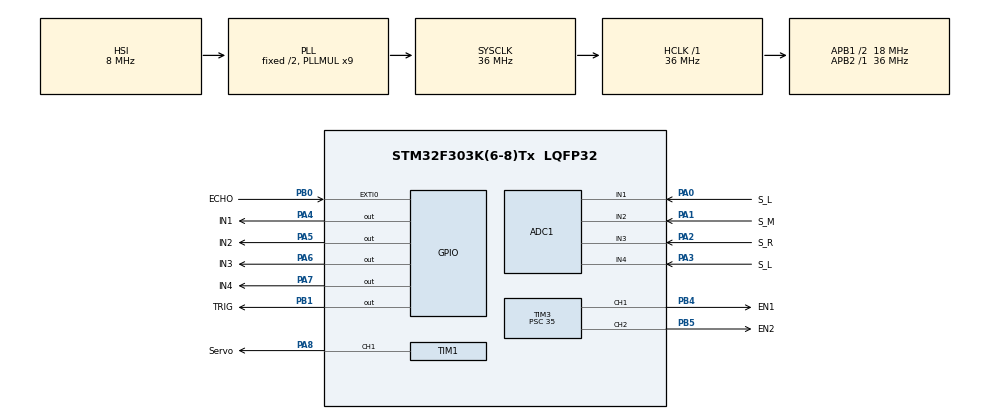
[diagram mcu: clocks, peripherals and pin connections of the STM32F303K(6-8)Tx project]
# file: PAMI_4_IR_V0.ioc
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ADC1.Channel-0\#ChannelRegularConversion=ADC_CHANNEL_1
ADC1.Channel-1\#ChannelRegularConversion=ADC_CHANNEL_2
ADC1.Channel-2\#ChannelRegularConversion=ADC_CHANNEL_3
ADC1.Channel-3\#ChannelRegularConversion=ADC_CHANNEL_4
ADC1.NbrOfConversion=4
ADC1.NbrOfConversionFlag=1
ADC1.Offset-0\#ChannelRegularConversion=0
ADC1.Offset-1\#ChannelRegularConversion=0
ADC1.Offset-2\#ChannelRegularConversion=0
ADC1.Offset-3\#ChannelRegularConversion=0
ADC1.OffsetNumber-0\#ChannelRegularConversion=ADC_OFFSET_NONE
ADC1.OffsetNumber-1\#ChannelRegularConversion=ADC_OFFSET_NONE
ADC1.OffsetNumber-2\#ChannelRegularConversion=ADC_OFFSET_NONE
ADC1.OffsetNumber-3\#ChannelRegularConversion=ADC_OFFSET_NONE
ADC1.Rank-0\#ChannelRegularConversion=1
ADC1.Rank-1\#ChannelRegularConversion=2
ADC1.Rank-2\#ChannelRegularConversion=3
ADC1.Rank-3\#ChannelRegularConversion=4
ADC1.SamplingTime-0\#ChannelRegularConversion=ADC_SAMPLETIME_181CYCLES_5
ADC1.SamplingTime-1\#ChannelRegularConversion=ADC_SAMPLETIME_181CYCLES_5
ADC1.SamplingTime-2\#ChannelRegularConversion=ADC_SAMPLETIME_181CYCLES_5
ADC1.SamplingTime-3\#ChannelRegularConversion=ADC_SAMPLETIME_1CYCLE_5
ADC1.SamplingTimeOPAMP-3\#ChannelRegularConversion=ADC_SAMPLETIME_19CYCLES_5
ADC1.SubFamily=STM32F303x8
ADC1.master=1
Mcu.Family=STM32F3
Mcu.Name=STM32F303K(6-8)Tx
Mcu.Package=LQFP32
NVIC.ADC1_2_IRQn=true\:0\:0\:false\:false\:true\:true\:true\:true
NVIC.EXTI0_IRQn=true\:0\:0\:false\:false\:true\:true\:true\:true
NVIC.PriorityGroup=NVIC_PRIORITYGROUP_4
PA0.GPIO_Label=S_L
PA0.Mode=IN1-Single-Ended
PA0.Signal=ADC1_IN1
PA1.GPIO_Label=S_M
PA1.Mode=IN2-Single-Ended
PA1.Signal=ADC1_IN2
PA2.GPIO_Label=S_R
PA2.Mode=IN3-Single-Ended
PA2.Signal=ADC1_IN3
PA3.GPIO_Label=S_L
PA3.Mode=IN4-Single-Ended
PA3.Signal=ADC1_IN4
PA4.GPIO_Label=IN1
PA4.Signal=GPIO_Output
PA5.GPIO_Label=IN2
PA5.Signal=GPIO_Output
PA6.GPIO_Label=IN3
PA6.Signal=GPIO_Output
PA7.GPIO_Label=IN4
PA7.Signal=GPIO_Output
PA8.GPIO_Label=Servo
PA8.Signal=S_TIM1_CH1
PB0.GPIO_Label=ECHO
PB0.GPIO_ModeDefaultEXTI=GPIO_MODE_IT_RISING_FALLING
PB0.Signal=GPXTI0
PB1.GPIO_Label=TRIG
PB1.Signal=GPIO_Output
PB4.GPIO_Label=EN1
PB4.Signal=S_TIM3_CH1
PB5.GPIO_Label=EN2
PB5.Signal=S_TIM3_CH2
PF0\ /\ OSC_IN.Mode=HSE-External-Oscillator
PF0\ /\ OSC_IN.Signal=RCC_OSC_IN
PF1\ /\ OSC_OUT.Mode=HSE-External-Oscillator
PF1\ /\ OSC_OUT.Signal=RCC_OSC_OUT
ProjectManager.HeapSize=0x200
ProjectManager.StackSize=0x400
ProjectManager.TargetToolchain=STM32CubeIDE
RCC.AHBFreq_Value=36000000
RCC.APB1CLKDivider=RCC_HCLK_DIV2
RCC.APB1Freq_Value=18000000
RCC.APB1TimFreq_Value=36000000
RCC.APB2Freq_Value=36000000
RCC.APB2TimFreq_Value=36000000
RCC.CortexFreq_Value=36000000
RCC.HCLKFreq_Value=36000000
RCC.HSE_VALUE=8000000
RCC.HSI_VALUE=8000000
RCC.PLLMUL=RCC_PLL_MUL9
RCC.SYSCLKFreq_VALUE=36000000
RCC.SYSCLKSourceVirtual=RCC_SYSCLKSOURCE_PLLCLK
SH.S_TIM1_CH1.0=TIM1_CH1,PWM Generation1 CH1
SH.S_TIM3_CH1.0=TIM3_CH1,PWM Generation1 CH1
SH.S_TIM3_CH2.0=TIM3_CH2,PWM Generation2 CH2
TIM1.Channel-PWM\ Generation1\ CH1=TIM_CHANNEL_1
TIM1.Period=65534
TIM1.Prescaler=35
TIM3.AutoReloadPreload=TIM_AUTORELOAD_PRELOAD_ENABLE
TIM3.Channel-PWM\ Generation1\ CH1=TIM_CHANNEL_1
TIM3.Channel-PWM\ Generation2\ CH2=TIM_CHANNEL_2
TIM3.Period=199
TIM3.Prescaler=35
VP_TIM1_VS_ClockSourceINT.Mode=Internal
VP_TIM3_VS_ClockSourceINT.Mode=Internal
board=custom

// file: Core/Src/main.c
/* USER CODE BEGIN Header */
/**
  ******************************************************************************
  * @file           : main.c
  * @brief          : Main program body
  ******************************************************************************
  * @attention
  *
  * Copyright (c) 2024 STMicroelectronics.
  * All rights reserved.
  *
  * This software is licensed under terms that can be found in the LICENSE file
  * in the root directory of this software component.
  * If no LICENSE file comes with this software, it is provided AS-IS.
  *
  ******************************************************************************
  */
/* USER CODE END Header */
#include "main.h"

ADC_HandleTypeDef hadc1;

TIM_HandleTypeDef htim1;
TIM_HandleTypeDef htim3;

/* USER CODE BEGIN PV */
uint32_t pMillis;
uint32_t Value1 = 0;
uint32_t Value2 = 0;
uint16_t Distance = 0;
/* USER CODE END PV */

void SystemClock_Config(void);
static void MX_GPIO_Init(void);
static void MX_TIM1_Init(void);
static void MX_ADC1_Init(void);
static void MX_TIM3_Init(void);
/* USER CODE BEGIN PFP */

ADC_ChannelConfTypeDef sConfig;
void HAL_GPIO_EXTI_Callback(uint16_t GPIO_Pin)
{
  static int threshold_state, timer_count;
  if((GPIO_Pin == ECHO_Pin)&&(threshold_state==0)){
	  threshold_state =1;
	  timer_count = __HAL_TIM_GET_COUNTER (&htim1);
  }else if((GPIO_Pin==ECHO_Pin) && (threshold_state ==1)){
	  threshold_state = 0;
	  //int time = (__HAL_TIM_GET_COUNTER (&htim1) - timer_count);
	  Distance = (__HAL_TIM_GET_COUNTER (&htim1) - timer_count)*0.034/2;
	  //__HAL_TIM_SET_COUNTER (&htim1, 0);
  }
}
/* USER CODE END PFP */

/* USER CODE BEGIN 0 */

void ADC_Select_CH1(void){
	/** Configure Regular Channel
	  */
	sConfig.Channel = ADC_CHANNEL_1;
	sConfig.Rank = 1;
	sConfig.SamplingTime = ADC_SAMPLETIME_181CYCLES_5;
	sConfig.SingleDiff = ADC_SINGLE_ENDED;
	sConfig.OffsetNumber = ADC_OFFSET_NONE;
	sConfig.Offset = 0;
	if (HAL_ADC_ConfigChannel(&hadc1, &sConfig) != HAL_OK)
	{
	  Error_Handler();
	}
}
void ADC_Select_CH2(void){

	  /** Configure Regular Channel
	  */
	  sConfig.Channel = ADC_CHANNEL_2;
	  sConfig.Rank = 1;
	  sConfig.SamplingTime = ADC_SAMPLETIME_181CYCLES_5;
	  sConfig.SingleDiff = ADC_SINGLE_ENDED;
	  sConfig.OffsetNumber = ADC_OFFSET_NONE;
	  sConfig.Offset = 0;
	  if (HAL_ADC_ConfigChannel(&hadc1, &sConfig) != HAL_OK)
	  {
	    Error_Handler();
	  }
}

void ADC_Select_CH3(void){
	/** Configure Regular Channel
		  */
		  sConfig.Channel = ADC_CHANNEL_3;
		  sConfig.Rank = 1;
		  sConfig.SamplingTime = ADC_SAMPLETIME_181CYCLES_5;
		  sConfig.SingleDiff = ADC_SINGLE_ENDED;
		  sConfig.OffsetNumber = ADC_OFFSET_NONE;
		  sConfig.Offset = 0;
		  if (HAL_ADC_ConfigChannel(&hadc1, &sConfig) != HAL_OK)
		  {
		    Error_Handler();
		  }
}

void ADC_Select_CH4(void){
	/** Configure Regular Channel
		  */
		  sConfig.Channel = ADC_CHANNEL_4;
		  sConfig.Rank = 1;
		  sConfig.SamplingTime = ADC_SAMPLETIME_181CYCLES_5;
		  sConfig.SingleDiff = ADC_SINGLE_ENDED;
		  sConfig.OffsetNumber = ADC_OFFSET_NONE;
		  sConfig.Offset = 0;
		  if (HAL_ADC_ConfigChannel(&hadc1, &sConfig) != HAL_OK)
		  {
		    Error_Handler();
		  }
}

uint16_t ADC_VAL[4]; // Array that stores values of those three line traking sensors

//int started_to_turn_right =0;
//int started_to_turn_left =0;

/* USER CODE END 0 */

int main(void)
{

  /* MCU Configuration--------------------------------------------------------*/

  /* Reset of all peripherals, Initializes the Flash interface and the Systick. */
  HAL_Init();

  /* Configure the system clock */
  SystemClock_Config();

  /* Initialize all configured peripherals */
  MX_GPIO_Init();
  MX_TIM1_Init();
  MX_ADC1_Init();
  MX_TIM3_Init();
  /* USER CODE BEGIN 2 */

  // For the motors
  HAL_TIM_PWM_Start(&htim3, TIM_CHANNEL_1);
  HAL_TIM_PWM_Start(&htim3, TIM_CHANNEL_2);

  HAL_TIM_Base_Start(&htim1);
  HAL_GPIO_WritePin(TRIG_GPIO_Port, TRIG_Pin, GPIO_PIN_RESET); //pull the TRIG pin low
  HAL_ADCEx_Calibration_Start(&hadc1, ADC_SINGLE_ENDED); //for sensors calibration

  int threshold = 2000;  //the threshold for line tracking
  //Stop the motor
  HAL_GPIO_WritePin(GPIOA, IN1_Pin, 0);
  HAL_GPIO_WritePin(GPIOA, IN2_Pin, 0);
  HAL_GPIO_WritePin(GPIOA, IN3_Pin, 0);
  HAL_GPIO_WritePin(GPIOA, IN4_Pin, 0);

  int passingCross =0;

  /* USER CODE END 2 */

  /* Infinite loop */
  /* USER CODE BEGIN WHILE */
  while (1)
  {

	  // The code for the radar, it prints the distance
	  HAL_GPIO_WritePin(TRIG_GPIO_Port, TRIG_Pin, GPIO_PIN_SET);  // pull the TRIG pin HIGH
	  //__HAL_TIM_SET_COUNTER(&htim1, 0);
	  while (__HAL_TIM_GET_COUNTER (&htim1) < 10);  // wait for 10 us
	  HAL_GPIO_WritePin(TRIG_GPIO_Port, TRIG_Pin, GPIO_PIN_RESET);  // pull the TRIG pin low
	  __HAL_TIM_SET_COUNTER(&htim1, 0);

	  //Lign tracker part
	  ADC_Select_CH1();
	  HAL_ADC_Start(&hadc1);
	  HAL_ADC_PollForConversion(&hadc1, 1000);
	  ADC_VAL[0] = HAL_ADC_GetValue(&hadc1);
	  HAL_ADC_Stop(&hadc1);

	  ADC_Select_CH2();
	  HAL_ADC_Start(&hadc1);
	  HAL_ADC_PollForConversion(&hadc1, 1000);
	  ADC_VAL[1] = HAL_ADC_GetValue(&hadc1);
	  HAL_ADC_Stop(&hadc1);

	  ADC_Select_CH3();
	  HAL_ADC_Start(&hadc1);
	  HAL_ADC_PollForConversion(&hadc1, 1000);
	  ADC_VAL[2] = HAL_ADC_GetValue(&hadc1);
	  HAL_ADC_Stop(&hadc1);

	  ADC_Select_CH4();
	  HAL_ADC_Start(&hadc1);
	  HAL_ADC_PollForConversion(&hadc1, 1000);
	  ADC_VAL[3] = HAL_ADC_GetValue(&hadc1);
	  HAL_ADC_Stop(&hadc1);

	  if(Distance>10){
		  if((ADC_VAL[1]<threshold) && (ADC_VAL[2]>threshold)&& (ADC_VAL[0]>threshold) &&(ADC_VAL[3]<threshold)){
			  passingCross=1;
		  }
		  if(passingCross==0){
			  if((ADC_VAL[1]>threshold) && (ADC_VAL[2]>threshold)&& (ADC_VAL[0]>threshold) &&(ADC_VAL[3]>threshold)){
				  //Set the rotation direction forward
				  HAL_GPIO_WritePin(GPIOA, GPIO_PIN_3, 0);
				  HAL_GPIO_WritePin(GPIOA, GPIO_PIN_4, 1);
				  HAL_GPIO_WritePin(GPIOA, GPIO_PIN_5, 0);
				  HAL_GPIO_WritePin(GPIOA, GPIO_PIN_6, 1);
				  // Set the speed
				  __HAL_TIM_SET_COMPARE(&htim3,TIM_CHANNEL_1, 170);
				  __HAL_TIM_SET_COMPARE(&htim3,TIM_CHANNEL_2, 170);
			  }

			  if(ADC_VAL[0]>threshold){
				  if((ADC_VAL[1]>threshold) && (ADC_VAL[2]>threshold)&& (ADC_VAL[3]>threshold)){
					  //Set the rotation direction forward
					  HAL_GPIO_WritePin(GPIOA, GPIO_PIN_3, 0);
					  HAL_GPIO_WritePin(GPIOA, GPIO_PIN_4, 1);
					  HAL_GPIO_WritePin(GPIOA, GPIO_PIN_5, 0);
					  HAL_GPIO_WritePin(GPIOA, GPIO_PIN_6, 1);
					  // Set the speed
					  __HAL_TIM_SET_COMPARE(&htim3,TIM_CHANNEL_1, 170);
					  __HAL_TIM_SET_COMPARE(&htim3,TIM_CHANNEL_2, 170);
				  }else if((ADC_VAL[1]<threshold) || (ADC_VAL[2]<threshold)|| (ADC_VAL[3]<threshold)){
					  //Set the rotation direction forward
					  HAL_GPIO_WritePin(GPIOA, GPIO_PIN_3, 0);
					  HAL_GPIO_WritePin(GPIOA, GPIO_PIN_4, 1);
					  HAL_GPIO_WritePin(GPIOA, GPIO_PIN_5, 0);
					  HAL_GPIO_WritePin(GPIOA, GPIO_PIN_6, 0);
					  // Set the speed
					  __HAL_TIM_SET_COMPARE(&htim3,TIM_CHANNEL_1, 170);
					  __HAL_TIM_SET_COMPARE(&htim3,TIM_CHANNEL_2, 0);
				  }
			  }else{
				  if((ADC_VAL[1]>threshold) || (ADC_VAL[2]>threshold)|| (ADC_VAL[3]>threshold)){
					  //Set the rotation direction forward
					  HAL_GPIO_WritePin(GPIOA, GPIO_PIN_3, 0);
					  HAL_GPIO_WritePin(GPIOA, GPIO_PIN_4, 0);
					  HAL_GPIO_WritePin(GPIOA, GPIO_PIN_5, 0);
					  HAL_GPIO_WritePin(GPIOA, GPIO_PIN_6, 1);
					  // Set the speed
					  __HAL_TIM_SET_COMPARE(&htim3,TIM_CHANNEL_1, 0);
					  __HAL_TIM_SET_COMPARE(&htim3,TIM_CHANNEL_2, 170);
				  }else{
					  //Set the rotation direction forward
					  HAL_GPIO_WritePin(GPIOA, GPIO_PIN_3, 0);
					  HAL_GPIO_WritePin(GPIOA, GPIO_PIN_4, 1);
					  HAL_GPIO_WritePin(GPIOA, GPIO_PIN_5, 0);
					  HAL_GPIO_WritePin(GPIOA, GPIO_PIN_6, 1);
					  // Set the speed
					  __HAL_TIM_SET_COMPARE(&htim3,TIM_CHANNEL_1, 170);
					  __HAL_TIM_SET_COMPARE(&htim3,TIM_CHANNEL_2, 170);
				  }
			  }
		  }else{
			  if((ADC_VAL[3]<threshold)){
				  //Set the rotation direction forward
				  HAL_GPIO_WritePin(GPIOA, GPIO_PIN_3, 0);
				  HAL_GPIO_WritePin(GPIOA, GPIO_PIN_4, 1);
				  HAL_GPIO_WritePin(GPIOA, GPIO_PIN_5, 0);
				  HAL_GPIO_WritePin(GPIOA, GPIO_PIN_6, 0);
				  // Set the speed
				  __HAL_TIM_SET_COMPARE(&htim3,TIM_CHANNEL_1, 170);
				  __HAL_TIM_SET_COMPARE(&htim3,TIM_CHANNEL_2, 0);
			  }else if((ADC_VAL[1]<threshold) || (ADC_VAL[2]<threshold)){
				  //Set the rotation direction forward
				  HAL_GPIO_WritePin(GPIOA, GPIO_PIN_3, 0);
				  HAL_GPIO_WritePin(GPIOA, GPIO_PIN_4, 0);
				  HAL_GPIO_WritePin(GPIOA, GPIO_PIN_5, 0);
				  HAL_GPIO_WritePin(GPIOA, GPIO_PIN_6, 1);
				  // Set the speed
				  __HAL_TIM_SET_COMPARE(&htim3,TIM_CHANNEL_1, 0);
				  __HAL_TIM_SET_COMPARE(&htim3,TIM_CHANNEL_2, 170);
			  }else{
				  //Set the rotation direction forward
				  HAL_GPIO_WritePin(GPIOA, GPIO_PIN_3, 0);
				  HAL_GPIO_WritePin(GPIOA, GPIO_PIN_4, 1);
				  HAL_GPIO_WritePin(GPIOA, GPIO_PIN_5, 0);
				  HAL_GPIO_WritePin(GPIOA, GPIO_PIN_6, 1);
				  // Set the speed
				  __HAL_TIM_SET_COMPARE(&htim3,TIM_CHANNEL_1, 170);
				  __HAL_TIM_SET_COMPARE(&htim3,TIM_CHANNEL_2, 170);
			  }

		  }
	  }else{
		  //Stop both motors
		  HAL_GPIO_WritePin(GPIOA, GPIO_PIN_3, 0);
		  HAL_GPIO_WritePin(GPIOA, GPIO_PIN_4, 0);
		  HAL_GPIO_WritePin(GPIOA, GPIO_PIN_5, 0);
		  HAL_GPIO_WritePin(GPIOA, GPIO_PIN_6, 0);
		  __HAL_TIM_SET_COMPARE(&htim3,TIM_CHANNEL_1, 0);
		  __HAL_TIM_SET_COMPARE(&htim3,TIM_CHANNEL_2, 0);
	  }

	  HAL_Delay(5); //If I don't add this the detection with ultrasound might cause pb with relatively long ditances
	  // The sound needs time to travel, here each iteration is 20ms, might be too quick, so HAL_Delay here works just fine.

    /* USER CODE END WHILE */

  }
}

void SystemClock_Config(void)
{
  RCC_OscInitTypeDef RCC_OscInitStruct = {0};
  RCC_ClkInitTypeDef RCC_ClkInitStruct = {0};
  RCC_PeriphCLKInitTypeDef PeriphClkInit = {0};

  /** Initializes the RCC Oscillators according to the specified parameters
  * in the RCC_OscInitTypeDef structure.
  */
  RCC_OscInitStruct.OscillatorType = RCC_OSCILLATORTYPE_HSI;
  RCC_OscInitStruct.HSIState = RCC_HSI_ON;
  RCC_OscInitStruct.HSICalibrationValue = RCC_HSICALIBRATION_DEFAULT;
  RCC_OscInitStruct.PLL.PLLState = RCC_PLL_ON;
  RCC_OscInitStruct.PLL.PLLSource = RCC_PLLSOURCE_HSI;
  RCC_OscInitStruct.PLL.PLLMUL = RCC_PLL_MUL9;
  if (HAL_RCC_OscConfig(&RCC_OscInitStruct) != HAL_OK)
  {
    Error_Handler();
  }

  /** Initializes the CPU, AHB and APB buses clocks
  */
  RCC_ClkInitStruct.ClockType = RCC_CLOCKTYPE_HCLK|RCC_CLOCKTYPE_SYSCLK
                              |RCC_CLOCKTYPE_PCLK1|RCC_CLOCKTYPE_PCLK2;
  RCC_ClkInitStruct.SYSCLKSource = RCC_SYSCLKSOURCE_PLLCLK;
  RCC_ClkInitStruct.AHBCLKDivider = RCC_SYSCLK_DIV1;
  RCC_ClkInitStruct.APB1CLKDivider = RCC_HCLK_DIV2;
  RCC_ClkInitStruct.APB2CLKDivider = RCC_HCLK_DIV1;

  if (HAL_RCC_ClockConfig(&RCC_ClkInitStruct, FLASH_LATENCY_1) != HAL_OK)
  {
    Error_Handler();
  }
  PeriphClkInit.PeriphClockSelection = RCC_PERIPHCLK_TIM1|RCC_PERIPHCLK_ADC12;
  PeriphClkInit.Adc12ClockSelection = RCC_ADC12PLLCLK_DIV1;
  PeriphClkInit.Tim1ClockSelection = RCC_TIM1CLK_HCLK;
  if (HAL_RCCEx_PeriphCLKConfig(&PeriphClkInit) != HAL_OK)
  {
    Error_Handler();
  }
}

static void MX_ADC1_Init(void)
{

  ADC_MultiModeTypeDef multimode = {0};
  ADC_ChannelConfTypeDef sConfig = {0};

  /** Common config
  */
  hadc1.Instance = ADC1;
  hadc1.Init.ClockPrescaler = ADC_CLOCK_ASYNC_DIV1;
  hadc1.Init.Resolution = ADC_RESOLUTION_12B;
  hadc1.Init.ScanConvMode = ADC_SCAN_ENABLE;
  hadc1.Init.ContinuousConvMode = DISABLE;
  hadc1.Init.DiscontinuousConvMode = DISABLE;
  hadc1.Init.ExternalTrigConvEdge = ADC_EXTERNALTRIGCONVEDGE_NONE;
  hadc1.Init.ExternalTrigConv = ADC_SOFTWARE_START;
  hadc1.Init.DataAlign = ADC_DATAALIGN_RIGHT;
  hadc1.Init.NbrOfConversion = 4;
  hadc1.Init.DMAContinuousRequests = DISABLE;
  hadc1.Init.EOCSelection = ADC_EOC_SINGLE_CONV;
  hadc1.Init.LowPowerAutoWait = DISABLE;
  hadc1.Init.Overrun = ADC_OVR_DATA_OVERWRITTEN;
  if (HAL_ADC_Init(&hadc1) != HAL_OK)
  {
    Error_Handler();
  }

  /** Configure the ADC multi-mode
  */
  multimode.Mode = ADC_MODE_INDEPENDENT;
  if (HAL_ADCEx_MultiModeConfigChannel(&hadc1, &multimode) != HAL_OK)
  {
    Error_Handler();
  }

  /** Configure Regular Channel
  */
  sConfig.Channel = ADC_CHANNEL_1;
  sConfig.Rank = ADC_REGULAR_RANK_1;
  sConfig.SingleDiff = ADC_SINGLE_ENDED;
  sConfig.SamplingTime = ADC_SAMPLETIME_181CYCLES_5;
  sConfig.OffsetNumber = ADC_OFFSET_NONE;
  sConfig.Offset = 0;
  if (HAL_ADC_ConfigChannel(&hadc1, &sConfig) != HAL_OK)
  {
    Error_Handler();
  }

  /** Configure Regular Channel
  */
  sConfig.Channel = ADC_CHANNEL_2;
  sConfig.Rank = ADC_REGULAR_RANK_2;
  if (HAL_ADC_ConfigChannel(&hadc1, &sConfig) != HAL_OK)
  {
    Error_Handler();
  }

  /** Configure Regular Channel
  */
  sConfig.Channel = ADC_CHANNEL_3;
  sConfig.Rank = ADC_REGULAR_RANK_3;
  if (HAL_ADC_ConfigChannel(&hadc1, &sConfig) != HAL_OK)
  {
    Error_Handler();
  }

  /** Configure Regular Channel
  */
  sConfig.Channel = ADC_CHANNEL_4;
  sConfig.Rank = ADC_REGULAR_RANK_4;
  sConfig.SamplingTime = ADC_SAMPLETIME_1CYCLE_5;
  if (HAL_ADC_ConfigChannel(&hadc1, &sConfig) != HAL_OK)
  {
    Error_Handler();
  }

}

static void MX_TIM1_Init(void)
{

  TIM_ClockConfigTypeDef sClockSourceConfig = {0};
  TIM_MasterConfigTypeDef sMasterConfig = {0};
  TIM_OC_InitTypeDef sConfigOC = {0};
  TIM_BreakDeadTimeConfigTypeDef sBreakDeadTimeConfig = {0};

  htim1.Instance = TIM1;
  htim1.Init.Prescaler = 35;
  htim1.Init.CounterMode = TIM_COUNTERMODE_UP;
  htim1.Init.Period = 65534;
  htim1.Init.ClockDivision = TIM_CLOCKDIVISION_DIV1;
  htim1.Init.RepetitionCounter = 0;
  htim1.Init.AutoReloadPreload = TIM_AUTORELOAD_PRELOAD_DISABLE;
  if (HAL_TIM_Base_Init(&htim1) != HAL_OK)
  {
    Error_Handler();
  }
  sClockSourceConfig.ClockSource = TIM_CLOCKSOURCE_INTERNAL;
  if (HAL_TIM_ConfigClockSource(&htim1, &sClockSourceConfig) != HAL_OK)
  {
    Error_Handler();
  }
  if (HAL_TIM_PWM_Init(&htim1) != HAL_OK)
  {
    Error_Handler();
  }
  sMasterConfig.MasterOutputTrigger = TIM_TRGO_RESET;
  sMasterConfig.MasterOutputTrigger2 = TIM_TRGO2_RESET;
  sMasterConfig.MasterSlaveMode = TIM_MASTERSLAVEMODE_DISABLE;
  if (HAL_TIMEx_MasterConfigSynchronization(&htim1, &sMasterConfig) != HAL_OK)
  {
    Error_Handler();
  }
  sConfigOC.OCMode = TIM_OCMODE_PWM1;
  sConfigOC.Pulse = 0;
  sConfigOC.OCPolarity = TIM_OCPOLARITY_HIGH;
  sConfigOC.OCNPolarity = TIM_OCNPOLARITY_HIGH;
  sConfigOC.OCFastMode = TIM_OCFAST_DISABLE;
  sConfigOC.OCIdleState = TIM_OCIDLESTATE_RESET;
  sConfigOC.OCNIdleState = TIM_OCNIDLESTATE_RESET;
  if (HAL_TIM_PWM_ConfigChannel(&htim1, &sConfigOC, TIM_CHANNEL_1) != HAL_OK)
  {
    Error_Handler();
  }
  sBreakDeadTimeConfig.OffStateRunMode = TIM_OSSR_DISABLE;
  sBreakDeadTimeConfig.OffStateIDLEMode = TIM_OSSI_DISABLE;
  sBreakDeadTimeConfig.LockLevel = TIM_LOCKLEVEL_OFF;
  sBreakDeadTimeConfig.DeadTime = 0;
  sBreakDeadTimeConfig.BreakState = TIM_BREAK_DISABLE;
  sBreakDeadTimeConfig.BreakPolarity = TIM_BREAKPOLARITY_HIGH;
  sBreakDeadTimeConfig.BreakFilter = 0;
  sBreakDeadTimeConfig.Break2State = TIM_BREAK2_DISABLE;
  sBreakDeadTimeConfig.Break2Polarity = TIM_BREAK2POLARITY_HIGH;
  sBreakDeadTimeConfig.Break2Filter = 0;
  sBreakDeadTimeConfig.AutomaticOutput = TIM_AUTOMATICOUTPUT_DISABLE;
  if (HAL_TIMEx_ConfigBreakDeadTime(&htim1, &sBreakDeadTimeConfig) != HAL_OK)
  {
    Error_Handler();
  }
  HAL_TIM_MspPostInit(&htim1);

}

static void MX_TIM3_Init(void)
{

  TIM_ClockConfigTypeDef sClockSourceConfig = {0};
  TIM_MasterConfigTypeDef sMasterConfig = {0};
  TIM_OC_InitTypeDef sConfigOC = {0};

  htim3.Instance = TIM3;
  htim3.Init.Prescaler = 35;
  htim3.Init.CounterMode = TIM_COUNTERMODE_UP;
  htim3.Init.Period = 199;
  htim3.Init.ClockDivision = TIM_CLOCKDIVISION_DIV1;
  htim3.Init.AutoReloadPreload = TIM_AUTORELOAD_PRELOAD_ENABLE;
  if (HAL_TIM_Base_Init(&htim3) != HAL_OK)
  {
    Error_Handler();
  }
  sClockSourceConfig.ClockSource = TIM_CLOCKSOURCE_INTERNAL;
  if (HAL_TIM_ConfigClockSource(&htim3, &sClockSourceConfig) != HAL_OK)
  {
    Error_Handler();
  }
  if (HAL_TIM_PWM_Init(&htim3) != HAL_OK)
  {
    Error_Handler();
  }
  sMasterConfig.MasterOutputTrigger = TIM_TRGO_RESET;
  sMasterConfig.MasterSlaveMode = TIM_MASTERSLAVEMODE_DISABLE;
  if (HAL_TIMEx_MasterConfigSynchronization(&htim3, &sMasterConfig) != HAL_OK)
  {
    Error_Handler();
  }
  sConfigOC.OCMode = TIM_OCMODE_PWM1;
  sConfigOC.Pulse = 0;
  sConfigOC.OCPolarity = TIM_OCPOLARITY_HIGH;
  sConfigOC.OCFastMode = TIM_OCFAST_DISABLE;
  if (HAL_TIM_PWM_ConfigChannel(&htim3, &sConfigOC, TIM_CHANNEL_1) != HAL_OK)
  {
    Error_Handler();
  }
  if (HAL_TIM_PWM_ConfigChannel(&htim3, &sConfigOC, TIM_CHANNEL_2) != HAL_OK)
  {
    Error_Handler();
  }
  HAL_TIM_MspPostInit(&htim3);

}

static void MX_GPIO_Init(void)
{
  GPIO_InitTypeDef GPIO_InitStruct = {0};

  /* GPIO Ports Clock Enable */
  __HAL_RCC_GPIOF_CLK_ENABLE();
  __HAL_RCC_GPIOA_CLK_ENABLE();
  __HAL_RCC_GPIOB_CLK_ENABLE();

  /*Configure GPIO pin Output Level */
  HAL_GPIO_WritePin(GPIOA, IN1_Pin|IN2_Pin|IN3_Pin|IN4_Pin, GPIO_PIN_RESET);

  /*Configure GPIO pin Output Level */
  HAL_GPIO_WritePin(TRIG_GPIO_Port, TRIG_Pin, GPIO_PIN_RESET);

  /*Configure GPIO pins : IN1_Pin IN2_Pin IN3_Pin IN4_Pin */
  GPIO_InitStruct.Pin = IN1_Pin|IN2_Pin|IN3_Pin|IN4_Pin;
  GPIO_InitStruct.Mode = GPIO_MODE_OUTPUT_PP;
  GPIO_InitStruct.Pull = GPIO_NOPULL;
  GPIO_InitStruct.Speed = GPIO_SPEED_FREQ_LOW;
  HAL_GPIO_Init(GPIOA, &GPIO_InitStruct);

  /*Configure GPIO pin : ECHO_Pin */
  GPIO_InitStruct.Pin = ECHO_Pin;
  GPIO_InitStruct.Mode = GPIO_MODE_IT_RISING_FALLING;
  GPIO_InitStruct.Pull = GPIO_NOPULL;
  HAL_GPIO_Init(ECHO_GPIO_Port, &GPIO_InitStruct);

  /*Configure GPIO pin : TRIG_Pin */
  GPIO_InitStruct.Pin = TRIG_Pin;
  GPIO_InitStruct.Mode = GPIO_MODE_OUTPUT_PP;
  GPIO_InitStruct.Pull = GPIO_NOPULL;
  GPIO_InitStruct.Speed = GPIO_SPEED_FREQ_LOW;
  HAL_GPIO_Init(TRIG_GPIO_Port, &GPIO_InitStruct);

  /* EXTI interrupt init*/
  HAL_NVIC_SetPriority(EXTI0_IRQn, 0, 0);
  HAL_NVIC_EnableIRQ(EXTI0_IRQn);

}

void Error_Handler(void)
{
  __disable_irq();
  while (1)
  {
  }
}
